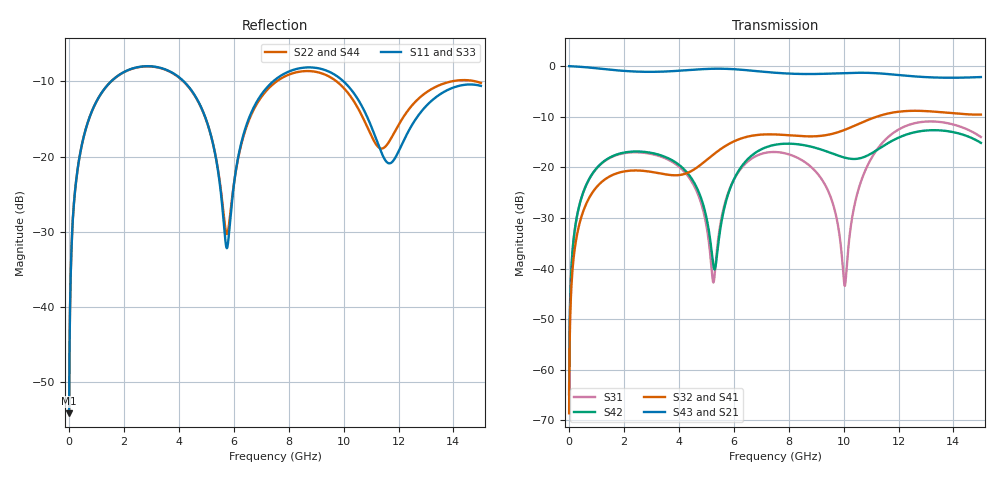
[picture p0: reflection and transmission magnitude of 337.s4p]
! Created with skrf 1.8.0 (http://scikit-rf.org).
# GHz S RI R 50.0
!freq ReS11 ImS11 ReS12 ImS12 ReS13 ImS13
! ReS14 ImS14
! ReS21 ImS21 ReS22 ImS22 ReS23 ImS23
! ReS24 ImS24
! ReS31 ImS31 ReS32 ImS32 ReS33 ImS33
! ReS34 ImS34
! ReS41 ImS41 ReS42 ImS42 ReS43 ImS43
! ReS44 ImS44
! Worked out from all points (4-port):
!   2499 points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, 5 MHz to 15 GHz, reference 50 ohm
!   strongest paths, dB at 5 MHz, 3.476 GHz, 7.19 GHz, 11.1 GHz, 15 GHz:
!     S43: 0.0, -1.1, -1.2, -1.4, -2.2
!     S21: 0.0, -1.1, -1.2, -1.4, -2.2
!     S32: -68.6, -21.4, -13.5, -10.2, -9.6
!     S41: -68.6, -21.4, -13.5, -10.2, -9.7
!     S42: -64.8, -17.9, -16.0, -17.0, -15.2
!     S31: -64.8, -18.1, -17.1, -17.4, -14.0
!   lowest |S11| = -54.1 dB at 5 MHz (marker M1), VSWR 1.00, Z = 50.2 + j0.12 ohm
!   |S11| at or under -10 dB: start of sweep to 1.529 GHz; 4.183 GHz to 7.43 GHz (3.247 GHz wide, 55.9 % of centre); 10 GHz to end of sweep
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0.005  0.00157 0.0012  0.9984 -0.00305  7.65e-05 0.000569  -7.47e-05 -0.000365
       0.9984 -0.00305  0.00156 0.0012  -7.47e-05 -0.000365  7.66e-05 0.000569
       7.65e-05 0.000569  -7.47e-05 -0.000365  0.00157 0.0012  0.9984 -0.00305
       -7.47e-05 -0.000365  7.66e-05 0.000569  0.9984 -0.00305  0.00156 0.0012
0.3126303  0.0222 0.0791  0.9698 -0.19  0.00921 0.034  -0.00788 -0.0216
           0.9698 -0.19  0.0222 0.0791  -0.00789 -0.0216  0.00951 0.0339
           0.00921 0.034  -0.00789 -0.0216  0.0222 0.0791  0.9698 -0.1899
           -0.00788 -0.0216  0.00951 0.0339  0.9698 -0.1899  0.0222 0.0791
1.519383  0.2524 0.1884  0.5921 -0.7049  0.1086 0.0624  -0.0813 -0.0131
          0.5921 -0.7049  0.2511 0.1893  -0.0813 -0.013  0.1123 0.0579
          0.1086 0.0624  -0.0813 -0.013  0.2523 0.1884  0.5922 -0.7049
          -0.0813 -0.0131  0.1123 0.0579  0.5922 -0.7049  0.2511 0.1892
5.571071  0.0273 -0.0409  -0.9302 -0.1484  -0.00615 0.0328  -0.0223 0.153
          -0.9302 -0.1484  0.0335 -0.0402  -0.0204 0.1532  -0.00319 0.0306
          -0.00615 0.0328  -0.0204 0.1532  0.0277 -0.0407  -0.9302 -0.1485
          -0.0223 0.153  -0.00319 0.0306  -0.9302 -0.1485  0.033 -0.04
8.897457  0.3895 -0.0394  0.0214 0.8342  0.0888 -0.0372  0.1963 -0.0461
          0.0214 0.8342  0.3683 -0.02  0.1962 -0.0501  0.0874 -0.1317
          0.0888 -0.0372  0.1962 -0.0501  0.3872 -0.0394  0.021 0.8351
          0.1963 -0.0461  0.0874 -0.1317  0.021 0.8351  0.3669 -0.0197
10.04168  0.2577 -0.1745  0.4946 0.6951  -0.00512 -0.0044  0.1895 -0.1382
          0.4946 0.6951  0.2472 -0.1349  0.1867 -0.1424  -0.0683 -0.1043
          -0.00512 -0.0044  0.1867 -0.1424  0.2546 -0.1735  0.4951 0.6959
          0.1895 -0.1382  -0.0683 -0.1043  0.4951 0.6959  0.2449 -0.1328
15  0.2861 -0.0746  -0.056 -0.7784  0.1491 -0.1326  -0.3185 0.0834
    -0.056 -0.7784  0.2964 -0.0889  -0.3183 0.0962  0.1389 -0.1056
    0.1491 -0.1326  -0.3183 0.0962  0.2874 -0.0665  -0.0534 -0.7777
    -0.3185 0.0834  0.1389 -0.1056  -0.0534 -0.7777  0.3012 -0.0951
